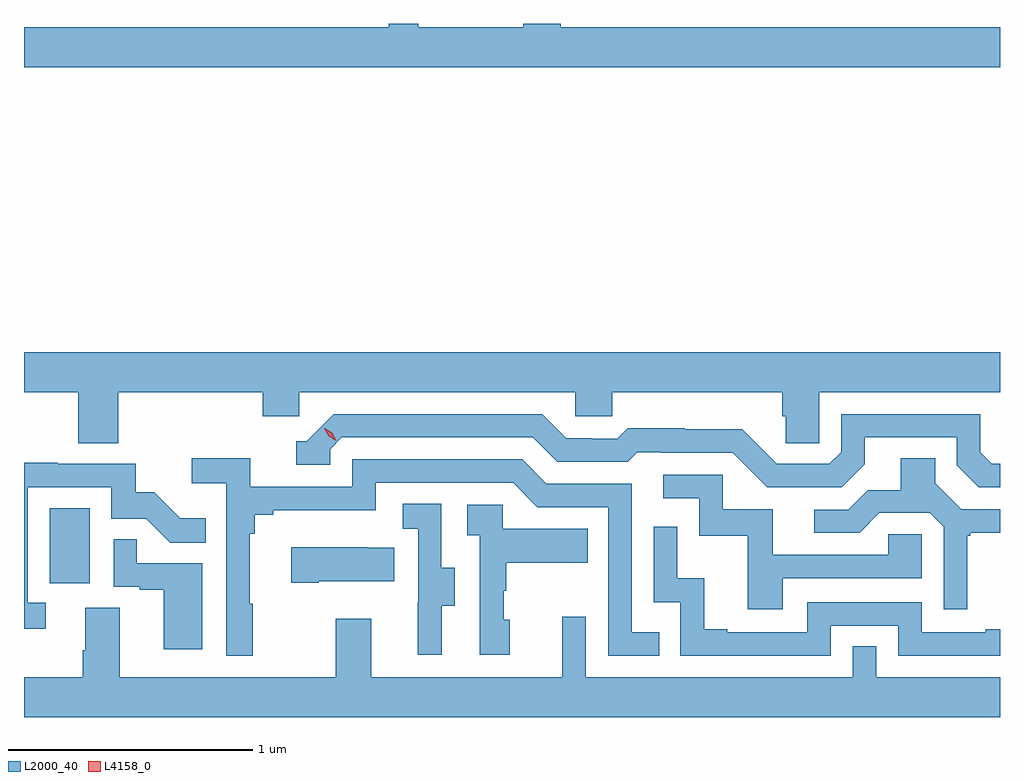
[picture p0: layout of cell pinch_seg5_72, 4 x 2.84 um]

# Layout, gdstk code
import gdstk
lib = gdstk.Library(unit=1e-6, precision=1e-09)
def R(c, l, rs):  # rectangles x0, y0, x1, y1
    for r in rs: c.add(gdstk.rectangle(r[:2], r[2:], *l))
def P(c, l, *ps):  # polygons
    for p in ps: c.add(gdstk.Polygon(p, *l))
L2000_40 = (2000, 40)
L4158_0 = (4158, 0)

pinch_seg5_72 = lib.new_cell('pinch_seg5_72')
R(pinch_seg5_72, L2000_40, [(1053.098,907.926,1053.262,908.233)])
P(pinch_seg5_72, L2000_40, [(1056.993,910.204),(1055.192,910.204),(1055.192,910.219),(1055.039,910.219),(1055.039,910.204),(1054.609,910.204),(1054.609,910.219),(1054.488,910.219),(1054.488,910.204),(1052.993,910.204),(1052.993,910.04),(1056.993,910.04)],
  [(1053.38,908.708),(1053.971,908.708),(1053.971,908.61),(1054.122,908.61),(1054.122,908.708),(1055.253,908.708),(1055.253,908.61),(1055.403,908.61),(1055.403,908.708),(1056.101,908.708),(1056.101,908.61),(1056.115,908.61),(1056.115,908.5),(1056.252,908.5),(1056.252,908.708),(1056.993,908.708),(1056.993,908.872),(1052.993,908.872),(1052.993,908.708),(1053.215,908.708),(1053.215,908.5),(1053.38,908.5)],
  [(1056.439,908.413),(1056.439,908.523),(1056.816,908.523),(1056.816,908.409),(1056.906,908.319),(1056.993,908.319),(1056.993,908.415),(1056.96,908.415),(1056.912,908.463),(1056.912,908.619),(1056.342,908.619),(1056.342,908.463),(1056.294,908.415),(1056.078,908.415),(1055.936,908.557),(1055.7,908.557),(1055.7,908.56),(1055.467,908.56),(1055.425,908.517),(1055.322,908.517),(1055.322,908.52),(1055.215,908.52),(1055.116,908.619),(1054.263,908.619),(1054.152,908.508),(1054.109,908.508),(1054.109,908.412),(1054.248,908.412),(1054.248,908.475),(1054.296,908.523),(1055.079,908.523),(1055.178,908.424),(1055.467,908.424),(1055.506,908.463),(1055.605,908.463),(1055.605,908.46),(1055.898,908.46),(1056.039,908.319),(1056.345,908.319)],
  [(1053.931,907.841),(1053.919,907.841),(1053.919,908.129),(1053.938,908.129),(1053.938,908.206),(1054.015,908.206),(1054.015,908.225),(1054.434,908.225),(1054.434,908.337),(1054.998,908.337),(1055.097,908.238),(1055.388,908.238),(1055.388,907.629),(1055.597,907.629),(1055.597,907.725),(1055.484,907.725),(1055.484,908.334),(1055.134,908.334),(1055.035,908.433),(1054.338,908.433),(1054.338,908.322),(1053.92,908.322),(1053.92,908.438),(1053.681,908.438),(1053.681,908.336),(1053.822,908.336),(1053.822,907.629),(1053.931,907.629)],
  [(1056.859,908.121),(1056.871,908.121),(1056.871,908.132),(1056.993,908.132),(1056.993,908.229),(1056.834,908.229),(1056.727,908.336),(1056.727,908.438),(1056.587,908.438),(1056.587,908.306),(1056.452,908.306),(1056.372,908.226),(1056.231,908.226),(1056.231,908.133),(1056.418,908.133),(1056.499,908.214),(1056.705,908.214),(1056.762,908.157),(1056.762,907.818),(1056.859,907.818)],
  [(1053.082,907.845),(1053.009,907.845),(1053.009,908.319),(1053.351,908.319),(1053.351,908.19),(1053.495,908.19),(1053.593,908.092),(1053.737,908.092),(1053.737,908.191),(1053.633,908.191),(1053.526,908.298),(1053.45,908.298),(1053.45,908.415),(1053.131,908.415),(1053.131,908.42),(1052.993,908.42),(1052.993,907.74),(1053.082,907.74)],
  [(1056.103,907.947),(1056.672,907.947),(1056.672,908.127),(1056.535,908.127),(1056.535,908.043),(1056.061,908.043),(1056.061,908.229),(1055.856,908.229),(1055.856,908.37),(1055.613,908.37),(1055.613,908.274),(1055.76,908.274),(1055.76,908.121),(1055.959,908.121),(1055.959,907.818),(1056.103,907.818)],
  [(1054.705,907.834),(1054.759,907.834),(1054.759,907.989),(1054.704,907.989),(1054.704,908.252),(1054.545,908.252),(1054.545,908.149),(1054.608,908.149),(1054.608,907.845),(1054.607,907.845),(1054.607,907.632),(1054.705,907.632)],
  [(1054.984,907.776),(1054.959,907.776),(1054.959,907.895),(1054.969,907.895),(1054.969,908.009),(1055.303,908.009),(1055.303,908.149),(1054.956,908.149),(1054.956,908.247),(1054.809,908.247),(1054.809,908.123),(1054.86,908.123),(1054.86,907.632),(1054.984,907.632)],
  [(1056.3,907.752),(1056.576,907.752),(1056.576,907.629),(1056.993,907.629),(1056.993,907.738),(1056.935,907.738),(1056.935,907.725),(1056.672,907.725),(1056.672,907.848),(1056.204,907.848),(1056.204,907.725),(1055.875,907.725),(1055.875,907.738),(1055.78,907.738),(1055.78,907.946),(1055.67,907.946),(1055.67,908.158),(1055.574,908.158),(1055.574,907.848),(1055.682,907.848),(1055.682,907.629),(1056.3,907.629)],
  [(1053.724,908.007),(1053.455,908.007),(1053.455,908.105),(1053.36,908.105),(1053.36,907.911),(1053.467,907.911),(1053.467,907.899),(1053.566,907.899),(1053.566,907.656),(1053.724,907.656)],
  [(1054.201,907.934),(1054.511,907.934),(1054.511,908.071),(1054.403,908.071),(1054.403,908.074),(1054.089,908.074),(1054.089,907.927),(1054.201,907.927)],
  [(1056.993,907.54),(1056.486,907.54),(1056.486,907.667),(1056.39,907.667),(1056.39,907.54),(1055.295,907.54),(1055.295,907.789),(1055.198,907.789),(1055.198,907.54),(1054.417,907.54),(1054.417,907.78),(1054.27,907.78),(1054.27,907.54),(1053.385,907.54),(1053.385,907.826),(1053.245,907.826),(1053.245,907.652),(1053.233,907.652),(1053.233,907.54),(1052.993,907.54),(1052.993,907.376),(1056.993,907.376)])
P(pinch_seg5_72, L4158_0, [(1054.272,908.509),(1054.241,908.528),(1054.224,908.56),(1054.224,908.561),(1054.225,908.561),(1054.256,908.542),(1054.272,908.509),(1054.272,908.509)])

lib.write_gds('pinch_seg5_72.gds')
